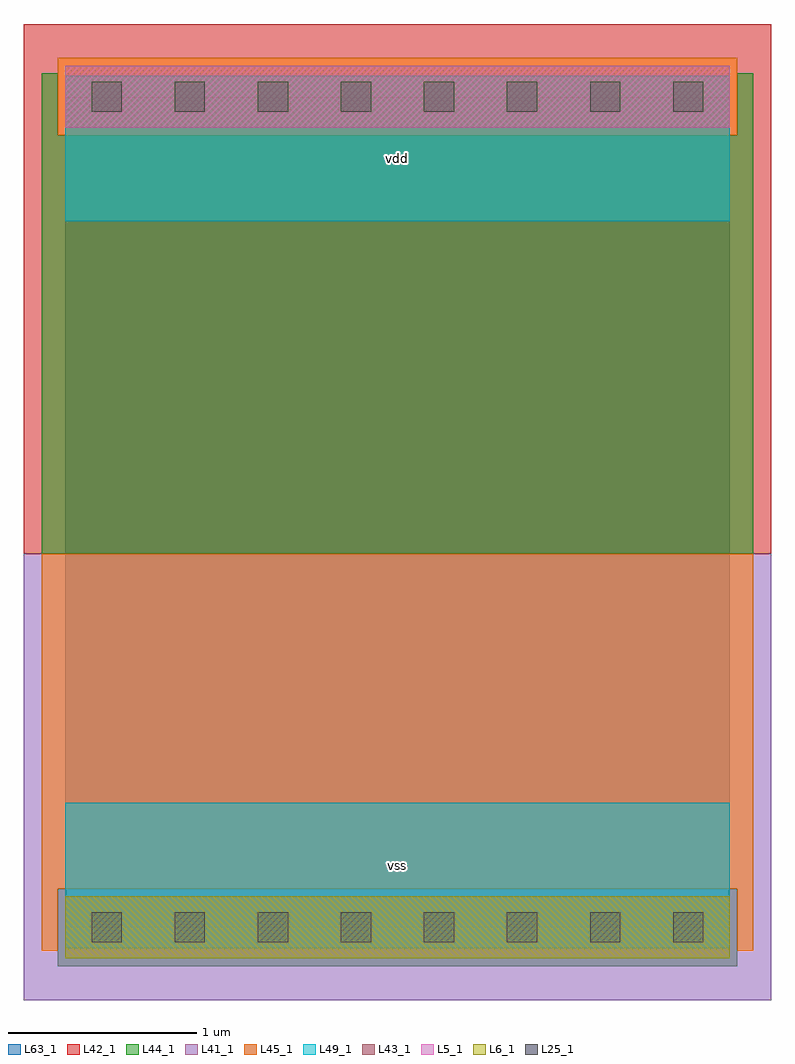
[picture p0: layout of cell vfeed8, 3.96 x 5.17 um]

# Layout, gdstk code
import gdstk
lib = gdstk.Library(unit=1e-6, precision=1e-09)
def R(c, l, rs):  # rectangles x0, y0, x1, y1
    for r in rs: c.add(gdstk.rectangle(r[:2], r[2:], *l))
def A(c, l, x, y, w, h, nx, ny, dx, dy):  # array of equal rectangles
    R(c, l, [(x+i*dx, y+j*dy, x+i*dx+w, y+j*dy+h) for i in range(nx) for j in range(ny)])
L5_1 = (5, 1)
L6_1 = (6, 1)
L25_1 = (25, 1)
L41_1 = (41, 1)
L42_1 = (42, 1)
L43_1 = (43, 1)
L44_1 = (44, 1)
L45_1 = (45, 1)
L49_1 = (49, 1)
L63_1 = (63, 1)

vfeed8 = lib.new_cell('vfeed8')
R(vfeed8, L5_1, [(0,4.235,3.52,4.565)])
R(vfeed8, L6_1, [(0,-0.165,3.52,0.165)])
A(vfeed8, L25_1, 0.14, -0.08, 0.16, 0.16, 8, 2, 0.44, 4.4)
R(vfeed8, L41_1, [(-0.22,-0.385,3.74,1.98)])
R(vfeed8, L42_1, [(-0.22,1.98,3.74,4.785)])
R(vfeed8, L43_1, [(0,-0.165,3.52,0.165), (0,4.235,3.52,4.565)])
R(vfeed8, L44_1, [(-0.04,-0.205,3.56,0.205), (-0.125,1.98,3.645,4.195), (-0.125,4.195,-0.04,4.525), (3.56,4.195,3.645,4.525)])
R(vfeed8, L45_1, [(-0.125,-0.125,-0.04,0.205), (3.56,-0.125,3.645,0.205), (-0.125,0.205,3.645,1.98), (-0.04,4.195,3.56,4.605)])
R(vfeed8, L49_1, [(0,-0.11,3.52,0.66), (0,3.74,3.52,4.51)])
R(vfeed8, L63_1, [(0,0,3.52,4.4)])
vfeed8.add(gdstk.Label('vss', (1.76,0.33), layer=49, texttype=1))
vfeed8.add(gdstk.Label('vdd', (1.76,4.07), layer=49, texttype=1))

lib.write_gds('vfeed8.gds')
